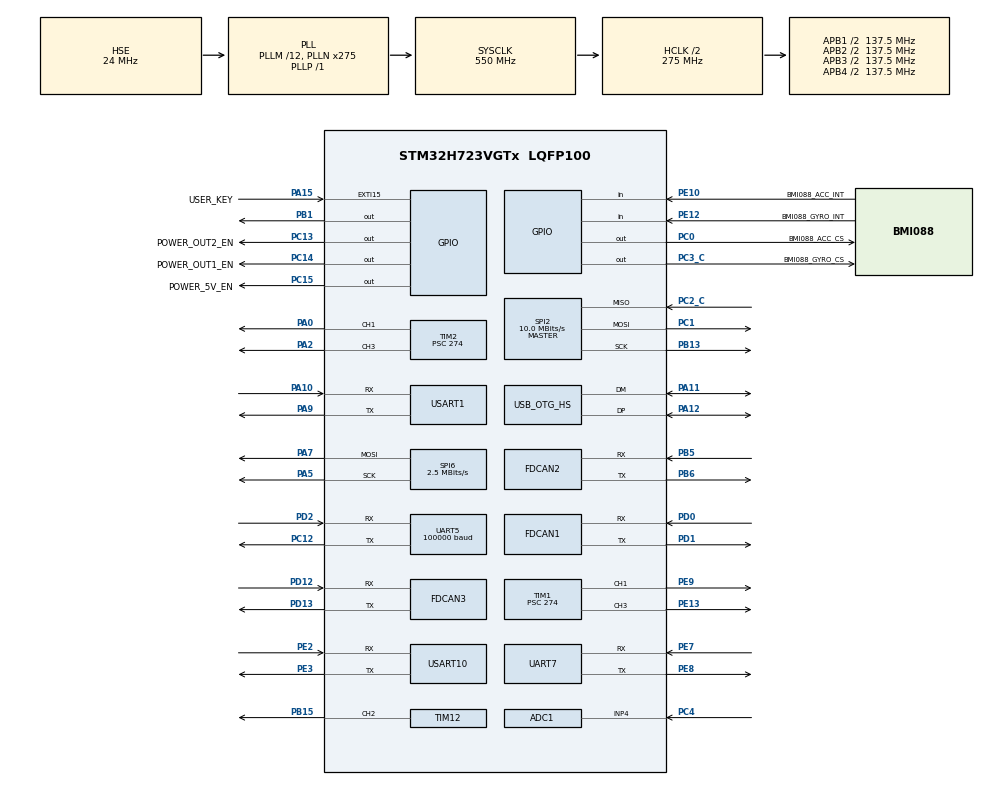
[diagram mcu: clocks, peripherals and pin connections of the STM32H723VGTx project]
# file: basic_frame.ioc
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ADC1.Channel-0\#ChannelRegularConversion=ADC_CHANNEL_4
ADC1.ContinuousConvMode=ENABLE
ADC1.ConversionDataManagement=ADC_CONVERSIONDATA_DMA_CIRCULAR
ADC1.NbrOfConversionFlag=1
ADC1.OffsetNumber-0\#ChannelRegularConversion=ADC_OFFSET_NONE
ADC1.OffsetSignedSaturation-0\#ChannelRegularConversion=DISABLE
ADC1.Overrun=ADC_OVR_DATA_OVERWRITTEN
ADC1.Rank-0\#ChannelRegularConversion=1
ADC1.Resolution=ADC_RESOLUTION_12B
ADC1.SamplingTime-0\#ChannelRegularConversion=ADC_SAMPLETIME_1CYCLE_5
ADC1.master=1
Bdma.Request0=SPI6_TX
Bdma.RequestsNb=1
Bdma.SPI6_TX.0.Direction=DMA_MEMORY_TO_PERIPH
Bdma.SPI6_TX.0.EventEnable=DISABLE
Bdma.SPI6_TX.0.Instance=BDMA_Channel0
Bdma.SPI6_TX.0.MemDataAlignment=DMA_MDATAALIGN_BYTE
Bdma.SPI6_TX.0.MemInc=DMA_MINC_ENABLE
Bdma.SPI6_TX.0.Mode=DMA_NORMAL
Bdma.SPI6_TX.0.PeriphDataAlignment=DMA_PDATAALIGN_BYTE
Bdma.SPI6_TX.0.PeriphInc=DMA_PINC_DISABLE
Bdma.SPI6_TX.0.Polarity=HAL_DMAMUX_REQ_GEN_RISING
Bdma.SPI6_TX.0.Priority=DMA_PRIORITY_HIGH
Bdma.SPI6_TX.0.RequestNumber=1
Bdma.SPI6_TX.0.SignalID=NONE
Bdma.SPI6_TX.0.SyncEnable=DISABLE
Bdma.SPI6_TX.0.SyncPolarity=HAL_DMAMUX_SYNC_NO_EVENT
Bdma.SPI6_TX.0.SyncRequestNumber=1
Bdma.SPI6_TX.0.SyncSignalID=NONE
CORTEX_M7.CPU_ICache=Enabled
CORTEX_M7.default_mode_Activation=1
Dma.ADC1.8.Direction=DMA_PERIPH_TO_MEMORY
Dma.ADC1.8.EventEnable=DISABLE
Dma.ADC1.8.FIFOMode=DMA_FIFOMODE_DISABLE
Dma.ADC1.8.Instance=DMA2_Stream1
Dma.ADC1.8.MemDataAlignment=DMA_MDATAALIGN_HALFWORD
Dma.ADC1.8.MemInc=DMA_MINC_ENABLE
Dma.ADC1.8.Mode=DMA_CIRCULAR
Dma.ADC1.8.PeriphDataAlignment=DMA_PDATAALIGN_HALFWORD
Dma.ADC1.8.PeriphInc=DMA_PINC_DISABLE
Dma.ADC1.8.Polarity=HAL_DMAMUX_REQ_GEN_RISING
Dma.ADC1.8.Priority=DMA_PRIORITY_HIGH
Dma.ADC1.8.RequestNumber=1
Dma.ADC1.8.SignalID=NONE
Dma.ADC1.8.SyncEnable=DISABLE
Dma.ADC1.8.SyncPolarity=HAL_DMAMUX_SYNC_NO_EVENT
Dma.ADC1.8.SyncRequestNumber=1
Dma.ADC1.8.SyncSignalID=NONE
Dma.Request0=USART1_RX
Dma.Request1=USART1_TX
Dma.Request2=UART7_RX
Dma.Request3=UART7_TX
Dma.Request4=USART10_RX
Dma.Request5=USART10_TX
Dma.Request6=UART5_RX
Dma.Request7=SPI2_TX
Dma.Request8=ADC1
Dma.SPI2_TX.7.Direction=DMA_MEMORY_TO_PERIPH
Dma.SPI2_TX.7.EventEnable=DISABLE
Dma.SPI2_TX.7.FIFOMode=DMA_FIFOMODE_DISABLE
Dma.SPI2_TX.7.Instance=DMA2_Stream0
Dma.SPI2_TX.7.MemDataAlignment=DMA_MDATAALIGN_BYTE
Dma.SPI2_TX.7.MemInc=DMA_MINC_ENABLE
Dma.SPI2_TX.7.Mode=DMA_NORMAL
Dma.SPI2_TX.7.PeriphDataAlignment=DMA_PDATAALIGN_BYTE
Dma.SPI2_TX.7.PeriphInc=DMA_PINC_DISABLE
Dma.SPI2_TX.7.Polarity=HAL_DMAMUX_REQ_GEN_RISING
Dma.SPI2_TX.7.Priority=DMA_PRIORITY_HIGH
Dma.SPI2_TX.7.RequestNumber=1
Dma.SPI2_TX.7.SignalID=NONE
Dma.SPI2_TX.7.SyncEnable=DISABLE
Dma.SPI2_TX.7.SyncPolarity=HAL_DMAMUX_SYNC_NO_EVENT
Dma.SPI2_TX.7.SyncRequestNumber=1
Dma.SPI2_TX.7.SyncSignalID=NONE
Dma.UART5_RX.6.Direction=DMA_PERIPH_TO_MEMORY
Dma.UART5_RX.6.EventEnable=DISABLE
Dma.UART5_RX.6.FIFOMode=DMA_FIFOMODE_DISABLE
Dma.UART5_RX.6.Instance=DMA1_Stream6
Dma.UART5_RX.6.MemDataAlignment=DMA_MDATAALIGN_BYTE
Dma.UART5_RX.6.MemInc=DMA_MINC_ENABLE
Dma.UART5_RX.6.Mode=DMA_CIRCULAR
Dma.UART5_RX.6.PeriphDataAlignment=DMA_PDATAALIGN_BYTE
Dma.UART5_RX.6.PeriphInc=DMA_PINC_DISABLE
Dma.UART5_RX.6.Polarity=HAL_DMAMUX_REQ_GEN_RISING
Dma.UART5_RX.6.Priority=DMA_PRIORITY_VERY_HIGH
Dma.UART5_RX.6.RequestNumber=1
Dma.UART5_RX.6.SignalID=NONE
Dma.UART5_RX.6.SyncEnable=DISABLE
Dma.UART5_RX.6.SyncPolarity=HAL_DMAMUX_SYNC_NO_EVENT
Dma.UART5_RX.6.SyncRequestNumber=1
Dma.UART5_RX.6.SyncSignalID=NONE
Dma.UART7_RX.2.Direction=DMA_PERIPH_TO_MEMORY
Dma.UART7_RX.2.EventEnable=DISABLE
Dma.UART7_RX.2.FIFOMode=DMA_FIFOMODE_DISABLE
Dma.UART7_RX.2.Instance=DMA1_Stream2
Dma.UART7_RX.2.MemDataAlignment=DMA_MDATAALIGN_BYTE
Dma.UART7_RX.2.MemInc=DMA_MINC_ENABLE
Dma.UART7_RX.2.Mode=DMA_CIRCULAR
Dma.UART7_RX.2.PeriphDataAlignment=DMA_PDATAALIGN_BYTE
Dma.UART7_RX.2.PeriphInc=DMA_PINC_DISABLE
Dma.UART7_RX.2.Polarity=HAL_DMAMUX_REQ_GEN_RISING
Dma.UART7_RX.2.Priority=DMA_PRIORITY_MEDIUM
Dma.UART7_RX.2.RequestNumber=1
Dma.UART7_RX.2.SignalID=NONE
Dma.UART7_RX.2.SyncEnable=DISABLE
Dma.UART7_RX.2.SyncPolarity=HAL_DMAMUX_SYNC_NO_EVENT
Dma.UART7_RX.2.SyncRequestNumber=1
Dma.UART7_RX.2.SyncSignalID=NONE
Dma.UART7_TX.3.Direction=DMA_MEMORY_TO_PERIPH
Dma.UART7_TX.3.EventEnable=DISABLE
Dma.UART7_TX.3.FIFOMode=DMA_FIFOMODE_DISABLE
Dma.UART7_TX.3.Instance=DMA1_Stream3
Dma.UART7_TX.3.MemDataAlignment=DMA_MDATAALIGN_BYTE
Dma.UART7_TX.3.MemInc=DMA_MINC_ENABLE
Dma.UART7_TX.3.Mode=DMA_NORMAL
Dma.UART7_TX.3.PeriphDataAlignment=DMA_PDATAALIGN_BYTE
Dma.UART7_TX.3.PeriphInc=DMA_PINC_DISABLE
Dma.UART7_TX.3.Polarity=HAL_DMAMUX_REQ_GEN_RISING
Dma.UART7_TX.3.Priority=DMA_PRIORITY_HIGH
Dma.UART7_TX.3.RequestNumber=1
Dma.UART7_TX.3.SignalID=NONE
Dma.UART7_TX.3.SyncEnable=DISABLE
Dma.UART7_TX.3.SyncPolarity=HAL_DMAMUX_SYNC_NO_EVENT
Dma.UART7_TX.3.SyncRequestNumber=1
Dma.UART7_TX.3.SyncSignalID=NONE
Dma.USART10_RX.4.Direction=DMA_PERIPH_TO_MEMORY
Dma.USART10_RX.4.EventEnable=DISABLE
Dma.USART10_RX.4.FIFOMode=DMA_FIFOMODE_DISABLE
Dma.USART10_RX.4.Instance=DMA1_Stream4
Dma.USART10_RX.4.MemDataAlignment=DMA_MDATAALIGN_BYTE
Dma.USART10_RX.4.MemInc=DMA_MINC_ENABLE
Dma.USART10_RX.4.Mode=DMA_CIRCULAR
Dma.USART10_RX.4.PeriphDataAlignment=DMA_PDATAALIGN_BYTE
Dma.USART10_RX.4.PeriphInc=DMA_PINC_DISABLE
Dma.USART10_RX.4.Polarity=HAL_DMAMUX_REQ_GEN_RISING
Dma.USART10_RX.4.Priority=DMA_PRIORITY_MEDIUM
Dma.USART10_RX.4.RequestNumber=1
Dma.USART10_RX.4.SignalID=NONE
Dma.USART10_RX.4.SyncEnable=DISABLE
Dma.USART10_RX.4.SyncPolarity=HAL_DMAMUX_SYNC_NO_EVENT
Dma.USART10_RX.4.SyncRequestNumber=1
Dma.USART10_RX.4.SyncSignalID=NONE
Dma.USART10_TX.5.Direction=DMA_MEMORY_TO_PERIPH
Dma.USART10_TX.5.EventEnable=DISABLE
Dma.USART10_TX.5.FIFOMode=DMA_FIFOMODE_DISABLE
Dma.USART10_TX.5.Instance=DMA1_Stream5
Dma.USART10_TX.5.MemDataAlignment=DMA_MDATAALIGN_BYTE
Dma.USART10_TX.5.MemInc=DMA_MINC_ENABLE
Dma.USART10_TX.5.Mode=DMA_NORMAL
Dma.USART10_TX.5.PeriphDataAlignment=DMA_PDATAALIGN_BYTE
Dma.USART10_TX.5.PeriphInc=DMA_PINC_DISABLE
Dma.USART10_TX.5.Polarity=HAL_DMAMUX_REQ_GEN_RISING
Dma.USART10_TX.5.Priority=DMA_PRIORITY_HIGH
Dma.USART10_TX.5.RequestNumber=1
Dma.USART10_TX.5.SignalID=NONE
Dma.USART10_TX.5.SyncEnable=DISABLE
Dma.USART10_TX.5.SyncPolarity=HAL_DMAMUX_SYNC_NO_EVENT
Dma.USART10_TX.5.SyncRequestNumber=1
Dma.USART10_TX.5.SyncSignalID=NONE
Dma.USART1_RX.0.Direction=DMA_PERIPH_TO_MEMORY
Dma.USART1_RX.0.EventEnable=DISABLE
Dma.USART1_RX.0.FIFOMode=DMA_FIFOMODE_DISABLE
Dma.USART1_RX.0.Instance=DMA1_Stream0
Dma.USART1_RX.0.MemDataAlignment=DMA_MDATAALIGN_BYTE
Dma.USART1_RX.0.MemInc=DMA_MINC_ENABLE
Dma.USART1_RX.0.Mode=DMA_CIRCULAR
Dma.USART1_RX.0.PeriphDataAlignment=DMA_PDATAALIGN_BYTE
Dma.USART1_RX.0.PeriphInc=DMA_PINC_DISABLE
Dma.USART1_RX.0.Polarity=HAL_DMAMUX_REQ_GEN_RISING
Dma.USART1_RX.0.Priority=DMA_PRIORITY_MEDIUM
Dma.USART1_RX.0.RequestNumber=1
Dma.USART1_RX.0.SignalID=NONE
Dma.USART1_RX.0.SyncEnable=DISABLE
Dma.USART1_RX.0.SyncPolarity=HAL_DMAMUX_SYNC_NO_EVENT
Dma.USART1_RX.0.SyncRequestNumber=1
Dma.USART1_RX.0.SyncSignalID=NONE
Dma.USART1_TX.1.Direction=DMA_MEMORY_TO_PERIPH
Dma.USART1_TX.1.EventEnable=DISABLE
Dma.USART1_TX.1.FIFOMode=DMA_FIFOMODE_DISABLE
Dma.USART1_TX.1.Instance=DMA1_Stream1
Dma.USART1_TX.1.MemDataAlignment=DMA_MDATAALIGN_BYTE
Dma.USART1_TX.1.MemInc=DMA_MINC_ENABLE
Dma.USART1_TX.1.Mode=DMA_NORMAL
Dma.USART1_TX.1.PeriphDataAlignment=DMA_PDATAALIGN_BYTE
Dma.USART1_TX.1.PeriphInc=DMA_PINC_DISABLE
Dma.USART1_TX.1.Polarity=HAL_DMAMUX_REQ_GEN_RISING
Dma.USART1_TX.1.Priority=DMA_PRIORITY_HIGH
Dma.USART1_TX.1.RequestNumber=1
Dma.USART1_TX.1.SignalID=NONE
Dma.USART1_TX.1.SyncEnable=DISABLE
Dma.USART1_TX.1.SyncPolarity=HAL_DMAMUX_SYNC_NO_EVENT
Dma.USART1_TX.1.SyncRequestNumber=1
Dma.USART1_TX.1.SyncSignalID=NONE
FDCAN1.AutoRetransmission=ENABLE
FDCAN1.CalculateBaudRateNominal=1000000
FDCAN1.CalculateTimeBitNominal=1000
FDCAN1.CalculateTimeQuantumNominal=62.5
FDCAN1.ExtFiltersNbr=8
FDCAN1.NominalPrescaler=5
FDCAN1.NominalSyncJumpWidth=2
FDCAN1.NominalTimeSeg1=13
FDCAN1.NominalTimeSeg2=2
FDCAN1.RxFifo0ElmtsNbr=32
FDCAN1.StdFiltersNbr=16
FDCAN1.TxEventsNbr=8
FDCAN1.TxFifoQueueElmtsNbr=16
FDCAN2.AutoRetransmission=ENABLE
FDCAN2.CalculateBaudRateNominal=1000000
FDCAN2.CalculateTimeBitNominal=1000
FDCAN2.CalculateTimeQuantumNominal=62.5
FDCAN2.ExtFiltersNbr=8
FDCAN2.MessageRAMOffset=256
FDCAN2.NominalPrescaler=5
FDCAN2.NominalSyncJumpWidth=2
FDCAN2.NominalTimeSeg1=13
FDCAN2.NominalTimeSeg2=2
FDCAN2.RxFifo0ElmtsNbr=32
FDCAN2.StdFiltersNbr=16
FDCAN2.TxEventsNbr=8
FDCAN2.TxFifoQueueElmtsNbr=16
FDCAN3.AutoRetransmission=ENABLE
FDCAN3.CalculateBaudRateNominal=1000000
FDCAN3.CalculateTimeBitNominal=1000
FDCAN3.CalculateTimeQuantumNominal=62.5
FDCAN3.ExtFiltersNbr=8
FDCAN3.MessageRAMOffset=512
FDCAN3.NominalPrescaler=5
FDCAN3.NominalSyncJumpWidth=2
FDCAN3.NominalTimeSeg1=13
FDCAN3.NominalTimeSeg2=2
FDCAN3.RxFifo0ElmtsNbr=32
FDCAN3.StdFiltersNbr=16
FDCAN3.TransmitPause=DISABLE
FDCAN3.TxEventsNbr=8
FDCAN3.TxFifoQueueElmtsNbr=16
FREERTOS.Tasks01=sensor,40,128,seneor_task_entry,Default,NULL,Dynamic,NULL,NULL;usb,40,256,usb_entry,Default,NULL,Dynamic,NULL,NULL;test,40,256,test_task_entry,Default,NULL,Dynamic,NULL,NULL;motor,48,128,motor_entry,Default,NULL,Dynamic,NULL,NULL;uart_task,40,256,uart_entry,Default,NULL,Dynamic,NULL,NULL
FREERTOS.configCHECK_FOR_STACK_OVERFLOW=2
FREERTOS.configENABLE_FPU=1
FREERTOS.configTOTAL_HEAP_SIZE=32768
FREERTOS.configUSE_MALLOC_FAILED_HOOK=1
FREERTOS.configUSE_STATS_FORMATTING_FUNCTIONS=1
Mcu.Family=STM32H7
Mcu.Name=STM32H723VGTx
Mcu.Package=LQFP100
NVIC.BDMA_Channel0_IRQn=true\:5\:0\:false\:false\:true\:true\:false\:true\:true
NVIC.DMA1_Stream0_IRQn=true\:5\:0\:false\:false\:true\:true\:false\:true\:true
NVIC.DMA1_Stream1_IRQn=true\:5\:0\:false\:false\:true\:true\:false\:true\:true
NVIC.DMA1_Stream2_IRQn=true\:5\:0\:false\:false\:true\:true\:false\:true\:true
NVIC.DMA1_Stream3_IRQn=true\:5\:0\:false\:false\:true\:true\:false\:true\:true
NVIC.DMA1_Stream4_IRQn=true\:5\:0\:false\:false\:true\:true\:false\:true\:true
NVIC.DMA1_Stream5_IRQn=true\:5\:0\:false\:false\:true\:true\:false\:true\:true
NVIC.DMA1_Stream6_IRQn=true\:5\:0\:false\:false\:true\:true\:false\:true\:true
NVIC.DMA2_Stream0_IRQn=true\:5\:0\:false\:false\:true\:true\:false\:true\:true
NVIC.DMA2_Stream1_IRQn=true\:5\:0\:false\:false\:true\:true\:false\:true\:true
NVIC.EXTI15_10_IRQn=true\:5\:0\:false\:false\:true\:true\:true\:true\:true
NVIC.OTG_HS_IRQn=true\:5\:0\:false\:false\:true\:true\:true\:true\:true
NVIC.PriorityGroup=NVIC_PRIORITYGROUP_4
NVIC.SPI2_IRQn=true\:5\:0\:false\:false\:true\:true\:false\:true\:true
NVIC.SPI6_IRQn=true\:5\:0\:false\:false\:true\:true\:false\:true\:true
NVIC.TIM6_DAC_IRQn=true\:15\:0\:false\:false\:true\:false\:false\:true\:true
NVIC.TimeBase=TIM6_DAC_IRQn
NVIC.TimeBaseIP=TIM6
NVIC.UART5_IRQn=true\:5\:0\:false\:false\:true\:true\:true\:true\:true
NVIC.UART7_IRQn=true\:5\:0\:false\:false\:true\:true\:false\:true\:true
NVIC.USART10_IRQn=true\:5\:0\:false\:false\:true\:true\:false\:true\:true
NVIC.USART1_IRQn=true\:5\:0\:false\:false\:true\:true\:false\:true\:true
PA0.GPIO_Speed=GPIO_SPEED_FREQ_VERY_HIGH
PA0.Signal=S_TIM2_CH1_ETR
PA10.Mode=Asynchronous
PA10.Signal=USART1_RX
PA11.Mode=Device_Only_FS
PA11.Signal=USB_OTG_HS_DM
PA12.Mode=Device_Only_FS
PA12.Signal=USB_OTG_HS_DP
PA13(JTMS/SWDIO).Mode=Serial_Wire
PA13(JTMS/SWDIO).Signal=DEBUG_JTMS-SWDIO
PA14(JTCK/SWCLK).Mode=Serial_Wire
PA14(JTCK/SWCLK).Signal=DEBUG_JTCK-SWCLK
PA15(JTDI).GPIO_Label=USER_KEY
PA15(JTDI).GPIO_ModeDefaultEXTI=GPIO_MODE_IT_FALLING
PA15(JTDI).GPIO_PuPd=GPIO_NOPULL
PA15(JTDI).Signal=GPXTI15
PA2.GPIO_Speed=GPIO_SPEED_FREQ_VERY_HIGH
PA2.Signal=S_TIM2_CH3
PA5.Mode=TX_Only_Simplex_Unidirect_Master
PA5.Signal=SPI6_SCK
PA7.GPIO_Speed=GPIO_SPEED_FREQ_VERY_HIGH
PA7.Mode=TX_Only_Simplex_Unidirect_Master
PA7.Signal=SPI6_MOSI
PA9.Mode=Asynchronous
PA9.Signal=USART1_TX
PB1.Signal=GPIO_Output
PB13.Mode=Full_Duplex_Master
PB13.Signal=SPI2_SCK
PB15.Signal=S_TIM12_CH2
PB5.Mode=FDCAN_Activate
PB5.Signal=FDCAN2_RX
PB6.Mode=FDCAN_Activate
PB6.Signal=FDCAN2_TX
PC0.GPIO_Label=BMI088_ACC_CS
PC0.GPIO_ModeDefaultOutputPP=GPIO_MODE_OUTPUT_PP
PC0.GPIO_Speed=GPIO_SPEED_FREQ_HIGH
PC0.PinState=GPIO_PIN_SET
PC0.Signal=GPIO_Output
PC1.Mode=Full_Duplex_Master
PC1.Signal=SPI2_MOSI
PC12.Mode=Asynchronous
PC12.Signal=UART5_TX
PC13.GPIO_Label=POWER_OUT2_EN
PC13.GPIO_PuPd=GPIO_NOPULL
PC13.Signal=GPIO_Output
PC14-OSC32_IN.GPIO_Label=POWER_OUT1_EN
PC14-OSC32_IN.Signal=GPIO_Output
PC15-OSC32_OUT.GPIO_Label=POWER_5V_EN
PC15-OSC32_OUT.Signal=GPIO_Output
PC2_C.Mode=Full_Duplex_Master
PC2_C.Signal=SPI2_MISO
PC3_C.GPIO_Label=BMI088_GYRO_CS
PC3_C.GPIO_Speed=GPIO_SPEED_FREQ_VERY_HIGH
PC3_C.PinState=GPIO_PIN_SET
PC3_C.Signal=GPIO_Output
PC4.Signal=ADCx_INP4
PD0.Mode=FDCAN_Activate
PD0.Signal=FDCAN1_RX
PD1.Mode=FDCAN_Activate
PD1.Signal=FDCAN1_TX
PD12.Mode=FDCAN_Activate
PD12.Signal=FDCAN3_RX
PD13.Mode=FDCAN_Activate
PD13.Signal=FDCAN3_TX
PD2.Mode=Asynchronous
PD2.Signal=UART5_RX
PE10.GPIO_Label=BMI088_ACC_INT
PE10.Signal=GPIO_Input
PE12.GPIO_Label=BMI088_GYRO_INT
PE12.Signal=GPIO_Input
PE13.Signal=S_TIM1_CH3
PE2.Mode=Asynchronous
PE2.Signal=USART10_RX
PE3.Mode=Asynchronous
PE3.Signal=USART10_TX
PE7.Mode=Asynchronous
PE7.Signal=UART7_RX
PE8.Mode=Asynchronous
PE8.Signal=UART7_TX
PE9.Signal=S_TIM1_CH1
PH0-OSC_IN.Mode=HSE-External-Oscillator
PH0-OSC_IN.Signal=RCC_OSC_IN
PH1-OSC_OUT.Mode=HSE-External-Oscillator
PH1-OSC_OUT.Signal=RCC_OSC_OUT
ProjectManager.HeapSize=0x200
ProjectManager.StackSize=0x400
ProjectManager.TargetToolchain=CMake
RCC.ADCFreq_Value=160000000
RCC.APB1Freq_Value=137500000
RCC.APB2Freq_Value=137500000
RCC.APB3Freq_Value=137500000
RCC.APB4Freq_Value=137500000
RCC.CortexFreq_Value=550000000
RCC.D1PPRE=RCC_APB3_DIV2
RCC.D2PPRE1=RCC_APB1_DIV2
RCC.D2PPRE2=RCC_APB2_DIV2
RCC.D3PPRE=RCC_APB4_DIV2
RCC.DIVM1=12
RCC.DIVM2=12
RCC.DIVM3=12
RCC.DIVN1=275
RCC.DIVN2=160
RCC.DIVN3=120
RCC.DIVP1=1
RCC.DIVP3=3
RCC.DIVQ1=5
RCC.DIVQ2=4
RCC.DIVQ3=5
RCC.FDCANCLockSelection=RCC_FDCANCLKSOURCE_PLL2
RCC.HCLKFreq_Value=275000000
RCC.HPRE=RCC_HCLK_DIV2
RCC.HSE_VALUE=24000000
RCC.PLL1_VCI_Range-AdvancedSettings=RCC_PLL1VCIRANGE_3
RCC.PLL2FRACN=0
RCC.PLL3FRACN=0
RCC.PLLFRACN=0
RCC.PLLSourceVirtual=RCC_PLLSOURCE_HSE
RCC.SPI123CLockSelection=RCC_SPI123CLKSOURCE_PLL3
RCC.SPI6CLockSelection=RCC_SPI6CLKSOURCE_PLL2
RCC.SYSCLKFreq_VALUE=550000000
RCC.SYSCLKSource=RCC_SYSCLKSOURCE_PLLCLK
RCC.USBCLockSelection=RCC_USBCLKSOURCE_PLL3
RCC.USBFreq_Value=48000000
SH.ADCx_INP4.0=ADC1_INP4,IN4-Single-Ended
SH.S_TIM12_CH2.0=TIM12_CH2,PWM Generation2 CH2
SH.S_TIM1_CH1.0=TIM1_CH1,PWM Generation1 CH1
SH.S_TIM1_CH3.0=TIM1_CH3,PWM Generation3 CH3
SH.S_TIM2_CH1_ETR.0=TIM2_CH1,PWM Generation1 CH1
SH.S_TIM2_CH3.0=TIM2_CH3,PWM Generation3 CH3
SPI2.BaudRatePrescaler=SPI_BAUDRATEPRESCALER_8
SPI2.CalculateBaudRate=10.0 MBits/s
SPI2.DataSize=SPI_DATASIZE_8BIT
SPI2.Direction=SPI_DIRECTION_2LINES
SPI2.MasterKeepIOState=SPI_MASTER_KEEP_IO_STATE_ENABLE
SPI2.Mode=SPI_MODE_MASTER
SPI2.NSSPMode=SPI_NSS_PULSE_DISABLE
SPI2.VirtualType=VM_MASTER
SPI6.BaudRatePrescaler=SPI_BAUDRATEPRESCALER_32
SPI6.CalculateBaudRate=2.5 MBits/s
SPI6.DataSize=SPI_DATASIZE_8BIT
SPI6.Direction=SPI_DIRECTION_2LINES_TXONLY
SPI6.MasterKeepIOState=SPI_MASTER_KEEP_IO_STATE_ENABLE
SPI6.Mode=SPI_MODE_MASTER
SPI6.NSSPMode=SPI_NSS_PULSE_DISABLE
SPI6.VirtualType=VM_MASTER
TIM1.AutoReloadPreload=TIM_AUTORELOAD_PRELOAD_ENABLE
TIM1.Channel-PWM\ Generation1\ CH1=TIM_CHANNEL_1
TIM1.Channel-PWM\ Generation3\ CH3=TIM_CHANNEL_3
TIM1.Period=19999
TIM1.Prescaler=274
TIM12.AutoReloadPreload=TIM_AUTORELOAD_PRELOAD_ENABLE
TIM12.Channel-PWM\ Generation2\ CH2=TIM_CHANNEL_2
TIM12.Period=249
TIM12.Prescaler=274
TIM2.AutoReloadPreload=TIM_AUTORELOAD_PRELOAD_ENABLE
TIM2.Channel-PWM\ Generation1\ CH1=TIM_CHANNEL_1
TIM2.Channel-PWM\ Generation3\ CH3=TIM_CHANNEL_3
TIM2.Period=19999
TIM2.Prescaler=274
TIM3.AutoReloadPreload=TIM_AUTORELOAD_PRELOAD_ENABLE
TIM3.Period=49
TIM3.Prescaler=274
UART5.BaudRate=100000
UART5.Mode=MODE_RX
UART5.Parity=PARITY_EVEN
UART5.RxPinLevelInvertParam=UART_ADVFEATURE_RXINV_DISABLE
UART5.StopBits=UART_STOPBITS_1
UART5.WordLength=WORDLENGTH_9B
USART1.VirtualMode-Asynchronous=VM_ASYNC
USART10.VirtualMode=VM_ASYNC
USB_DEVICE.CLASS_NAME_HS=CDC
USB_DEVICE.USBD_LPM_ENABLED=0
USB_DEVICE.USBD_SELF_POWERED=0
USB_DEVICE.VirtualMode=Cdc
USB_DEVICE.VirtualModeHS=Cdc_HS
USB_OTG_HS.VirtualMode-Device_Only_FS=Device_Only_FS
VP_FREERTOS_VS_CMSIS_V2.Mode=CMSIS_V2
VP_MEMORYMAP_VS_MEMORYMAP.Mode=CurAppReg
VP_SYS_VS_tim6.Mode=TIM6
VP_TIM12_VS_ClockSourceINT.Mode=Internal
VP_TIM1_VS_ClockSourceINT.Mode=Internal
VP_TIM2_VS_ClockSourceINT.Mode=Internal
VP_TIM3_VS_ClockSourceINT.Mode=Internal
VP_USB_DEVICE_VS_USB_DEVICE_CDC_HS.Mode=CDC_HS
board=custom

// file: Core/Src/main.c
/* USER CODE BEGIN Header */
/**
  ******************************************************************************
  * @file           : main.c
  * @brief          : Main program body
  ******************************************************************************
  * @attention
  *
  * Copyright (c) 2026 STMicroelectronics.
  * All rights reserved.
  *
  * This software is licensed under terms that can be found in the LICENSE file
  * in the root directory of this software component.
  * If no LICENSE file comes with this software, it is provided AS-IS.
  *
  ******************************************************************************
  */
/* USER CODE END Header */
#include "main.h"
#include "FreeRTOS.h"
#include "cmsis_os2.h"
#include "adc.h"
#include "bdma.h"
#include "dma.h"
#include "fdcan.h"
#include "spi.h"
#include "tim.h"
#include "usart.h"
#include "usb_device.h"
#include "gpio.h"

/* USER CODE BEGIN Includes */

# include "../../bsp/LED/LED.h"
# include "../../bsp/can/can.h"
#include "../../bsp/pwm/pwm.h"
# include "../../device/motor/motor.h"

/* USER CODE END Includes */

void SystemClock_Config(void);
void PeriphCommonClock_Config(void);
static void MPU_Config(void);
void MX_FREERTOS_Init(void);

int main(void)
{

  /* MPU Configuration--------------------------------------------------------*/
  MPU_Config();

  /* Enable the CPU Cache */

  /* Enable I-Cache---------------------------------------------------------*/
  SCB_EnableICache();

  /* MCU Configuration--------------------------------------------------------*/

  /* Reset of all peripherals, Initializes the Flash interface and the Systick. */
  HAL_Init();

  /* Configure the system clock */
  SystemClock_Config();

  /* Configure the peripherals common clocks */
  PeriphCommonClock_Config();

  /* USER CODE BEGIN SysInit */
  __HAL_RCC_D2SRAM1_CLK_ENABLE();
  /* USER CODE END SysInit */

  /* Initialize all configured peripherals */
  MX_GPIO_Init();
  MX_DMA_Init();
  MX_BDMA_Init();
  MX_UART7_Init();
  MX_USART10_UART_Init();
  MX_USART1_UART_Init();
  MX_FDCAN1_Init();
  MX_FDCAN2_Init();
  MX_FDCAN3_Init();
  MX_SPI6_Init();
  MX_TIM1_Init();
  MX_TIM2_Init();
  MX_UART5_Init();
  MX_SPI2_Init();
  MX_TIM12_Init();
  MX_ADC1_Init();
  MX_TIM3_Init();
  /* USER CODE BEGIN 2 */
  LED_init();
  can_init();
  Motor_System_PowerOn_Init();
  LED_YELLOW_SET();
  pwm_power_enable();
  HAL_GPIO_WritePin(POWER_OUT2_EN_GPIO_Port, POWER_OUT1_EN_Pin, GPIO_PIN_SET);

  /* USER CODE END 2 */

  /* Init scheduler */
  osKernelInitialize();  /* Call init function for freertos objects (in cmsis_os2.c) */
  MX_FREERTOS_Init();

  /* Start scheduler */
  osKernelStart();

  /* We should never get here as control is now taken by the scheduler */

  /* Infinite loop */
  while (1)
  {

  }
}

void SystemClock_Config(void)
{
  RCC_OscInitTypeDef RCC_OscInitStruct = {0};
  RCC_ClkInitTypeDef RCC_ClkInitStruct = {0};

  /** Supply configuration update enable
  */
  HAL_PWREx_ConfigSupply(PWR_LDO_SUPPLY);

  /** Configure the main internal regulator output voltage
  */
  __HAL_PWR_VOLTAGESCALING_CONFIG(PWR_REGULATOR_VOLTAGE_SCALE0);

  while(!__HAL_PWR_GET_FLAG(PWR_FLAG_VOSRDY)) {}

  /** Initializes the RCC Oscillators according to the specified parameters
  * in the RCC_OscInitTypeDef structure.
  */
  RCC_OscInitStruct.OscillatorType = RCC_OSCILLATORTYPE_HSE;
  RCC_OscInitStruct.HSEState = RCC_HSE_ON;
  RCC_OscInitStruct.PLL.PLLState = RCC_PLL_ON;
  RCC_OscInitStruct.PLL.PLLSource = RCC_PLLSOURCE_HSE;
  RCC_OscInitStruct.PLL.PLLM = 12;
  RCC_OscInitStruct.PLL.PLLN = 275;
  RCC_OscInitStruct.PLL.PLLP = 1;
  RCC_OscInitStruct.PLL.PLLQ = 5;
  RCC_OscInitStruct.PLL.PLLR = 2;
  RCC_OscInitStruct.PLL.PLLRGE = RCC_PLL1VCIRANGE_1;
  RCC_OscInitStruct.PLL.PLLVCOSEL = RCC_PLL1VCOWIDE;
  RCC_OscInitStruct.PLL.PLLFRACN = 0;
  if (HAL_RCC_OscConfig(&RCC_OscInitStruct) != HAL_OK)
  {
    Error_Handler();
  }

  /** Initializes the CPU, AHB and APB buses clocks
  */
  RCC_ClkInitStruct.ClockType = RCC_CLOCKTYPE_HCLK|RCC_CLOCKTYPE_SYSCLK
                              |RCC_CLOCKTYPE_PCLK1|RCC_CLOCKTYPE_PCLK2
                              |RCC_CLOCKTYPE_D3PCLK1|RCC_CLOCKTYPE_D1PCLK1;
  RCC_ClkInitStruct.SYSCLKSource = RCC_SYSCLKSOURCE_PLLCLK;
  RCC_ClkInitStruct.SYSCLKDivider = RCC_SYSCLK_DIV1;
  RCC_ClkInitStruct.AHBCLKDivider = RCC_HCLK_DIV2;
  RCC_ClkInitStruct.APB3CLKDivider = RCC_APB3_DIV2;
  RCC_ClkInitStruct.APB1CLKDivider = RCC_APB1_DIV2;
  RCC_ClkInitStruct.APB2CLKDivider = RCC_APB2_DIV2;
  RCC_ClkInitStruct.APB4CLKDivider = RCC_APB4_DIV2;

  if (HAL_RCC_ClockConfig(&RCC_ClkInitStruct, FLASH_LATENCY_3) != HAL_OK)
  {
    Error_Handler();
  }
}

void PeriphCommonClock_Config(void)
{
  RCC_PeriphCLKInitTypeDef PeriphClkInitStruct = {0};

  /** Initializes the peripherals clock
  */
  PeriphClkInitStruct.PeriphClockSelection = RCC_PERIPHCLK_USB|RCC_PERIPHCLK_SPI6
                              |RCC_PERIPHCLK_ADC|RCC_PERIPHCLK_SPI2
                              |RCC_PERIPHCLK_FDCAN;
  PeriphClkInitStruct.PLL2.PLL2M = 12;
  PeriphClkInitStruct.PLL2.PLL2N = 160;
  PeriphClkInitStruct.PLL2.PLL2P = 2;
  PeriphClkInitStruct.PLL2.PLL2Q = 4;
  PeriphClkInitStruct.PLL2.PLL2R = 2;
  PeriphClkInitStruct.PLL2.PLL2RGE = RCC_PLL2VCIRANGE_1;
  PeriphClkInitStruct.PLL2.PLL2VCOSEL = RCC_PLL2VCOWIDE;
  PeriphClkInitStruct.PLL2.PLL2FRACN = 0;
  PeriphClkInitStruct.PLL3.PLL3M = 12;
  PeriphClkInitStruct.PLL3.PLL3N = 120;
  PeriphClkInitStruct.PLL3.PLL3P = 3;
  PeriphClkInitStruct.PLL3.PLL3Q = 5;
  PeriphClkInitStruct.PLL3.PLL3R = 2;
  PeriphClkInitStruct.PLL3.PLL3RGE = RCC_PLL3VCIRANGE_1;
  PeriphClkInitStruct.PLL3.PLL3VCOSEL = RCC_PLL3VCOWIDE;
  PeriphClkInitStruct.PLL3.PLL3FRACN = 0;
  PeriphClkInitStruct.Spi123ClockSelection = RCC_SPI123CLKSOURCE_PLL3;
  PeriphClkInitStruct.FdcanClockSelection = RCC_FDCANCLKSOURCE_PLL2;
  PeriphClkInitStruct.UsbClockSelection = RCC_USBCLKSOURCE_PLL3;
  PeriphClkInitStruct.AdcClockSelection = RCC_ADCCLKSOURCE_PLL2;
  PeriphClkInitStruct.Spi6ClockSelection = RCC_SPI6CLKSOURCE_PLL2;
  if (HAL_RCCEx_PeriphCLKConfig(&PeriphClkInitStruct) != HAL_OK)
  {
    Error_Handler();
  }
}

 /* MPU Configuration */

void MPU_Config(void)
{
  MPU_Region_InitTypeDef MPU_InitStruct = {0};

  /* Disables the MPU */
  HAL_MPU_Disable();

  /** Initializes and configures the Region and the memory to be protected
  */
  MPU_InitStruct.Enable = MPU_REGION_ENABLE;
  MPU_InitStruct.Number = MPU_REGION_NUMBER0;
  MPU_InitStruct.BaseAddress = 0x0;
  MPU_InitStruct.Size = MPU_REGION_SIZE_4GB;
  MPU_InitStruct.SubRegionDisable = 0x87;
  MPU_InitStruct.TypeExtField = MPU_TEX_LEVEL0;
  MPU_InitStruct.AccessPermission = MPU_REGION_NO_ACCESS;
  MPU_InitStruct.DisableExec = MPU_INSTRUCTION_ACCESS_DISABLE;
  MPU_InitStruct.IsShareable = MPU_ACCESS_SHAREABLE;
  MPU_InitStruct.IsCacheable = MPU_ACCESS_NOT_CACHEABLE;
  MPU_InitStruct.IsBufferable = MPU_ACCESS_NOT_BUFFERABLE;

  HAL_MPU_ConfigRegion(&MPU_InitStruct);
  /* Enables the MPU */
  HAL_MPU_Enable(MPU_PRIVILEGED_DEFAULT);

}

void HAL_TIM_PeriodElapsedCallback(TIM_HandleTypeDef *htim)
{
  if (htim->Instance == TIM6)
  {
    HAL_IncTick();
  }
}

void Error_Handler(void)
{
  __disable_irq();
  while (1)
  {
  }
}

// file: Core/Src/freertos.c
/* USER CODE BEGIN Header */
/**
  ******************************************************************************
  * File Name          : freertos.c
  * Description        : Code for freertos applications
  ******************************************************************************
  * @attention
  *
  * Copyright (c) 2026 STMicroelectronics.
  * All rights reserved.
  *
  * This software is licensed under terms that can be found in the LICENSE file
  * in the root directory of this software component.
  * If no LICENSE file comes with this software, it is provided AS-IS.
  *
  ******************************************************************************
  */
/* USER CODE END Header */

#include "FreeRTOS.h"
#include "task.h"
#include "main.h"
#include "FreeRTOS.h"
#include "cmsis_os2.h"

/* USER CODE BEGIN Includes */
#include "../../task/all_task.h"
#include "../../device/motor/motor.h"
/* USER CODE END Includes */

/* Definitions for sensor */
osThreadId_t sensorHandle;
const osThreadAttr_t sensor_attributes = {
  .name = "sensor",
  .stack_size = 128 * 4,
  .priority = (osPriority_t) osPriorityHigh,
};
/* Definitions for usb */
osThreadId_t usbHandle;
const osThreadAttr_t usb_attributes = {
  .name = "usb",
  .stack_size = 256 * 4,
  .priority = (osPriority_t) osPriorityHigh,
};
/* Definitions for test */
osThreadId_t testHandle;
const osThreadAttr_t test_attributes = {
  .name = "test",
  .stack_size = 256 * 4,
  .priority = (osPriority_t) osPriorityHigh,
};
/* Definitions for motor */
osThreadId_t motorHandle;
const osThreadAttr_t motor_attributes = {
  .name = "motor",
  .stack_size = 128 * 4,
  .priority = (osPriority_t) osPriorityRealtime,
};
/* Definitions for uart_task */
osThreadId_t uart_taskHandle;
const osThreadAttr_t uart_task_attributes = {
  .name = "uart_task",
  .stack_size = 256 * 4,
  .priority = (osPriority_t) osPriorityHigh,
};

void seneor_task_entry(void *argument);
void usb_entry(void *argument);
void test_task_entry(void *argument);
void motor_entry(void *argument);
void uart_entry(void *argument);

extern void MX_USB_DEVICE_Init(void);
void MX_FREERTOS_Init(void); /* (MISRA C 2004 rule 8.1) */

/* Hook prototypes */
void vApplicationStackOverflowHook(xTaskHandle xTask, char *pcTaskName);
void vApplicationMallocFailedHook(void);

/* USER CODE BEGIN 4 */
void vApplicationStackOverflowHook(xTaskHandle xTask, char *pcTaskName)
{
   /* Run time stack overflow checking is performed if
   configCHECK_FOR_STACK_OVERFLOW is defined to 1 or 2. This hook function is
   called if a stack overflow is detected. */
}
/* USER CODE END 4 */

/* USER CODE BEGIN 5 */
void vApplicationMallocFailedHook(void)
{
   /* vApplicationMallocFailedHook() will only be called if
   configUSE_MALLOC_FAILED_HOOK is set to 1 in FreeRTOSConfig.h. It is a hook
   function that will get called if a call to pvPortMalloc() fails.
   pvPortMalloc() is called internally by the kernel whenever a task, queue,
   timer or semaphore is created. It is also called by various parts of the
   demo application. If heap_1.c or heap_2.c are used, then the size of the
   heap available to pvPortMalloc() is defined by configTOTAL_HEAP_SIZE in
   FreeRTOSConfig.h, and the xPortGetFreeHeapSize() API function can be used
   to query the size of free heap space that remains (although it does not
   provide information on how the remaining heap might be fragmented). */
}
/* USER CODE END 5 */

void MX_FREERTOS_Init(void) {

  /* Create the thread(s) */
  /* creation of sensor */
  sensorHandle = osThreadNew(seneor_task_entry, NULL, &sensor_attributes);

  /* creation of usb */
  usbHandle = osThreadNew(usb_entry, NULL, &usb_attributes);

  /* creation of test */
  testHandle = osThreadNew(test_task_entry, NULL, &test_attributes);

  /* creation of motor */
  motorHandle = osThreadNew(motor_entry, NULL, &motor_attributes);

  /* creation of uart_task */
  uart_taskHandle = osThreadNew(uart_entry, NULL, &uart_task_attributes);

}

void seneor_task_entry(void *argument)
{
  /* init code for USB_DEVICE */
  MX_USB_DEVICE_Init();
  /* USER CODE BEGIN seneor_task_entry */
  sensor_task();
  /* Infinite loop */
  for(;;)
  {
    osDelay(1);
  }
  /* USER CODE END seneor_task_entry */
}

void usb_entry(void *argument)
{
  /* USER CODE BEGIN usb_entry */
  usb_task();
  /* Infinite loop */
  for(;;)
  {
    osDelay(1);
  }
  /* USER CODE END usb_entry */
}

void test_task_entry(void *argument)
{
  /* USER CODE BEGIN test_task_entry */
  test_task();
  /* Infinite loop */
  for(;;)
  {
    osDelay(1);
  }
  /* USER CODE END test_task_entry */
}

void motor_entry(void *argument)
{
  /* USER CODE BEGIN motor_entry */
  motor_task();
  /* Infinite loop */
  for(;;)
  {
    osDelay(1);
  }
  /* USER CODE END motor_entry */
}

void uart_entry(void *argument)
{
  /* USER CODE BEGIN uart_entry */
  uart_task();
  /* Infinite loop */
  for(;;)
  {
    osDelay(1);
  }
  /* USER CODE END uart_entry */
}
